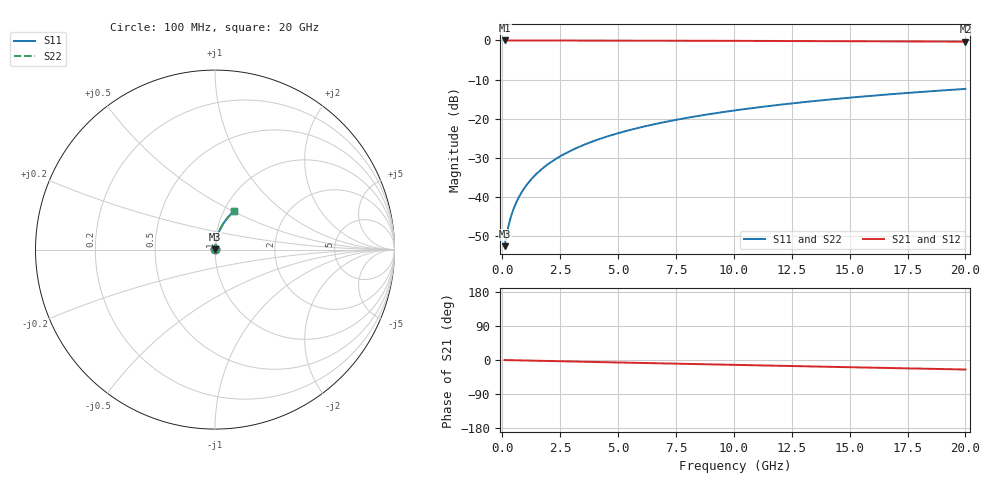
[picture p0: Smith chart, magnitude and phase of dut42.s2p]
! Touchstone file exported from HFSS 2026.1.0
!  File:  C:/ffzhzh/LocalFiles/Ansys_Project_Files/temp_train_BSMRDL_42_1782882419_43084.aedt
!  Generated:  01:08:12 PM Jul  1, 2026
!  Design:  BSMRDL
!  Project:  temp_train_BSMRDL_42_1782882419_43084
! Variables:
!  h_bsmrdl = 3.53um
!  h_ox = 20um
!  h_rdl = 5um
!  h_sub = 80um
!  h_tmrdl = 5um
!  h_tsv = 80um
!  h_via = 3um
!  l_bsmrdl = 341.65um
!  l_sub = 741.65um
!  l_tmrdl = 200um
!  m_sub = 200um
!  pitch = 44.44um
!  r_tsv = 6um
!  s_tmrdl = 10um
!  w_bsmrdl = 20.96um
!  w_sub = 500um
!  w_tmrdl = 12um
!  x_tsv_center1 = 206um
!  x_tsv_center2 = 568.61um
!  x_tsv_center3 = 780.61um
!  x_tsv_center4 = 1143.22um
!  x_tsv_center5 = 1355.22um
!  x_tsv_center6 = 1717.83um
# GHz S MA R 50.000000
! Terminal data exported
! Port[1] = BSM_RDL1_1_T1
! Port[2] = BSM_RDL1_1_T2
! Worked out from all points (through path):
!   200 points, 100 MHz to 20 GHz, reference 50 ohm
!   highest |S21| = -0.02 dB at 100 MHz (marker M1); lowest = -0.3 dB at 20 GHz (marker M2)
!   group delay of S21, straight-line fit = 3.48 ps
!   lowest |S11| = -52.6 dB at 100 MHz (marker M3), VSWR 1.00, Z = 50.2 + j0.145 ohm
!   |S11| at or under -10 dB: start of sweep to end of sweep
!   |S22| runs from -52.6 to -12.4 dB; largest |S21 - S12| = 2.7e-15
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0.1  0.002342 38.0  0.9982 -0.1  0.9982 -0.1  0.002342 38.0
! Gamma 0 0 0 0
! Port Impedance 50 0 50 0
0.2  0.003439 55.7  0.9981 -0.3  0.9981 -0.3  0.003439 55.7
0.3  0.004664 64.0  0.998 -0.4  0.998 -0.4  0.004664 64.0
0.4  0.005914 68.7  0.9979 -0.5  0.9979 -0.5  0.005914 68.7
0.5  0.007171 71.8  0.9978 -0.7  0.9978 -0.7  0.007171 71.8
0.6  0.008433 74.1  0.9978 -0.8  0.9978 -0.8  0.008433 74.1
0.8  0.01097 77.0  0.9977 -1.1  0.9977 -1.1  0.01097 77.0
1.1  0.01483 79.4  0.9976 -1.4  0.9976 -1.4  0.01482 79.4
1.3  0.01741 80.4  0.9975 -1.7  0.9975 -1.7  0.01741 80.4
1.6  0.0213 81.3  0.9973 -2.1  0.9973 -2.1  0.0213 81.3
2.1  0.02779 82.0  0.9971 -2.8  0.9971 -2.8  0.02779 82.0
2.7  0.03558 82.1  0.9967 -3.5  0.9967 -3.5  0.03558 82.1
3.5  0.04592 81.8  0.996 -4.6  0.996 -4.6  0.04592 81.8
4.2  0.05491 81.2  0.9953 -5.5  0.9953 -5.5  0.05491 81.2
5  0.06512 80.5  0.9944 -6.5  0.9944 -6.5  0.06512 80.5
5.9  0.07649 79.5  0.9933 -7.7  0.9933 -7.7  0.07649 79.5
6.8  0.08776 78.5  0.992 -8.8  0.992 -8.8  0.08776 78.5
8.3  0.1063 76.8  0.9897 -10.7  0.9897 -10.7  0.1063 76.8
10.1  0.1281 74.7  0.9865 -13.0  0.9865 -13.0  0.1281 74.7
13.4  0.1669 70.8  0.9798 -17.1  0.9798 -17.1  0.1669 70.8
16.7  0.2042 67.0  0.9721 -21.1  0.9721 -21.1  0.2042 67.0
20  0.2398 63.1  0.9634 -25.1  0.9634 -25.1  0.2398 63.2
